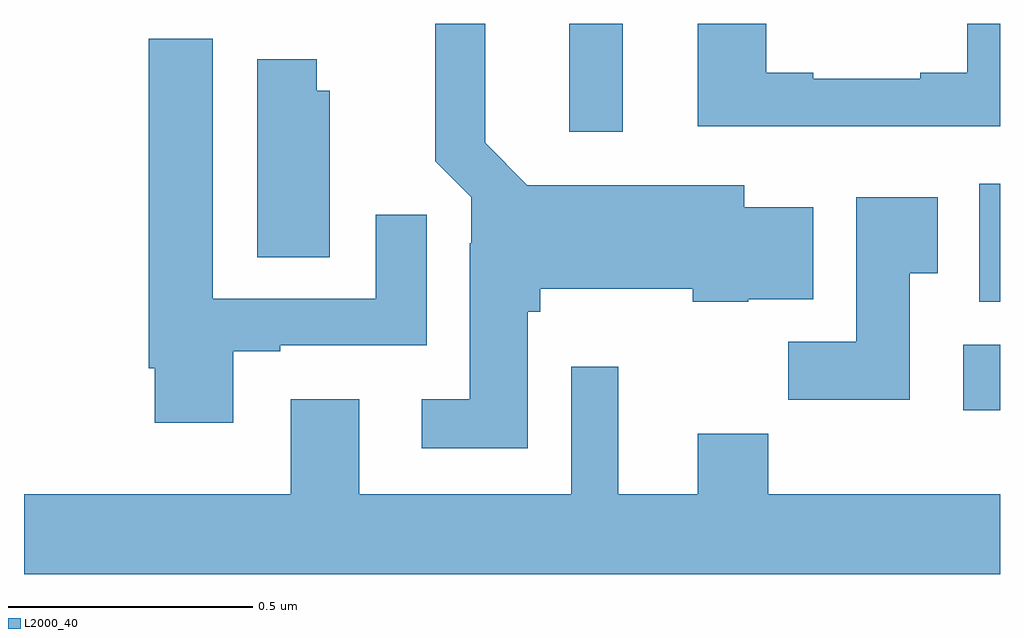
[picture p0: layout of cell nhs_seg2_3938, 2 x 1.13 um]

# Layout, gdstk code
import gdstk
lib = gdstk.Library(unit=1e-6, precision=1e-09)
def R(c, l, rs):  # rectangles x0, y0, x1, y1
    for r in rs: c.add(gdstk.rectangle(r[:2], r[2:], *l))
def P(c, l, *ps):  # polygons
    for p in ps: c.add(gdstk.Polygon(p, *l))
L2000_40 = (2000, 40)

nhs_seg2_3938 = lib.new_cell('nhs_seg2_3938')
R(nhs_seg2_3938, L2000_40, [(161.925,612.008,162,612.142), (161.957,612.23,162,612.472), (161.117,612.579,161.227,612.8)])
P(nhs_seg2_3938, L2000_40, [(161.032,612.21),(161.058,612.21),(161.058,612.257),(161.37,612.257),(161.37,612.23),(161.484,612.23),(161.484,612.236),(161.617,612.236),(161.617,612.424),(161.476,612.424),(161.476,612.469),(161.031,612.469),(160.945,612.556),(160.945,612.8),(160.843,612.8),(160.843,612.518),(160.917,612.444),(160.917,612.35),(160.913,612.35),(160.913,612.031),(160.815,612.031),(160.815,611.93),(161.032,611.93)],
  [(162,612.8),(161.933,612.8),(161.933,612.7),(161.837,612.7),(161.837,612.687),(161.617,612.687),(161.617,612.7),(161.521,612.7),(161.521,612.8),(161.381,612.8),(161.381,612.59),(162,612.59)],
  [(160.429,612.129),(160.525,612.129),(160.525,612.141),(160.825,612.141),(160.825,612.409),(160.721,612.409),(160.721,612.237),(160.387,612.237),(160.387,612.769),(160.256,612.769),(160.256,612.094),(160.268,612.094),(160.268,611.982),(160.429,611.982)],
  [(160.627,612.663),(160.6,612.663),(160.6,612.727),(160.478,612.727),(160.478,612.322),(160.627,612.322)],
  [(161.815,612.289),(161.872,612.289),(161.872,612.445),(161.705,612.445),(161.705,612.148),(161.566,612.148),(161.566,612.03),(161.815,612.03)],
  [(162,611.836),(161.525,611.836),(161.525,611.96),(161.381,611.96),(161.381,611.836),(161.218,611.836),(161.218,612.097),(161.121,612.097),(161.121,611.836),(160.687,611.836),(160.687,612.031),(160.547,612.031),(160.547,611.836),(160,611.836),(160,611.672),(162,611.672)])

lib.write_gds('nhs_seg2_3938.gds')
